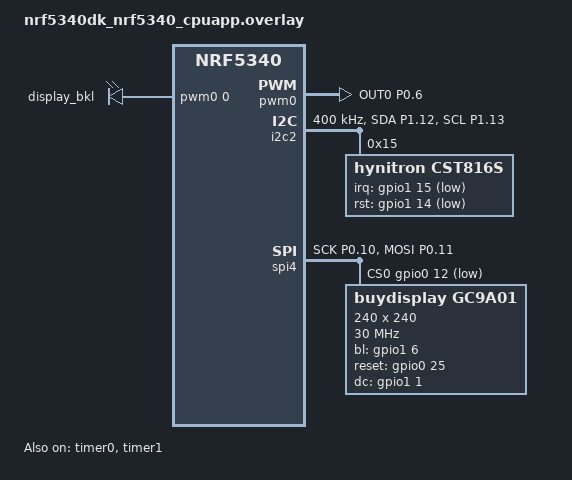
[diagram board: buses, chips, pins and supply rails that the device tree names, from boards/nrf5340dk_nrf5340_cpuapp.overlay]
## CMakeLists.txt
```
cmake_minimum_required(VERSION 3.20.0)
find_package(Zephyr REQUIRED HINTS $ENV{ZEPHYR_BASE})

project(nrf-test VERSION "0.0.0" LANGUAGES C CXX)

execute_process(
        COMMAND git rev-parse --short HEAD
        WORKING_DIRECTORY ${CMAKE_CURRENT_LIST_DIR}
        OUTPUT_VARIABLE GIT_HASH
        OUTPUT_STRIP_TRAILING_WHITESPACE
        )

target_sources(app PRIVATE
  src/ble/bt.cpp
  src/ble/auth.cpp
  src/ble/ams.cpp
  src/ble/ancs.cpp
  src/ble/bas.cpp
  src/ble/cts.cpp
  src/ble/gap.cpp
  src/ble/gatt_dm.cpp
  src/ble/nus.cpp
  src/ble/utils.cpp
  src/ble/services/gap_client.cpp
  src/ble/services/gadgetbridge.cpp
  src/ble/services/gadgetbridge/gb_parse.cpp
  src/ble/services/gadgetbridge/st_parse.cpp

  src/drivers/display/gc9a01.cpp
  src/drivers/input/cst816s.cpp

  src/ui/ui_watchface.c
  src/ui/ui_settings.c
  src/ui/ui_stopwatch.c
  src/ui/ui.c
  src/ui/ui_comp_hook.c
  src/ui/ui_helpers.c
  src/ui/ui_events.cpp
  src/ui/ui_font_MesloGLNerdFrontMono38.c
  src/ui/ui_font_MesloGLNerdFrontMono14.c
  src/ui/ui_font_MesloGLNerdFrontMono28.c
  
  src/managers/bluetooth.cpp
  src/managers/devkit.cpp
  src/managers/display.cpp
  src/managers/hfclk.cpp

  src/main.cpp
)

target_include_directories(app PRIVATE
  src/
)

set(CMAKE_CXX_FLAGS "${CMAKE_CXX_FLAGS} -fno-threadsafe-statics -DGIT_HASH=\\\"${GIT_HASH}\\\"")
set(CMAKE_C_FLAGS "${CMAKE_C_FLAGS} -DGIT_HASH=\\\"${GIT_HASH}\\\"")

# NORDIC SDK APP START
target_sources(app PRIVATE ${app_sources})
# NORDIC SDK APP END
```

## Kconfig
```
menu "Zephyr Kernel"
    source "Kconfig.zephyr"
endmenu

menu "NRF_TEST"
  menu "Bluetooth"
    config GATT_0X1801_CLIENT
      bool "GATT_0X1801_CLIENT"
      default y
  endmenu
  menu "Logging"
    module = NRF_TEST
    module-str = NRF_TEST
    source "subsys/logging/Kconfig.template.log_config"

    module = NRF_TEST_BLE
    module-str = NRF_TEST_BLE
    source "subsys/logging/Kconfig.template.log_config"
  endmenu
  
  menuconfig INPUT_MODIFIED_CST816S
    bool "Use modified out of tree CST816S capacitive touch panel driver"
    default y
    depends on DT_HAS_HYNITRON_CST816S_ENABLED
    select I2C
    help
      Enable modified out of tree driver for hynitron cst816s touch panel.

  if INPUT_MODIFIED_CST816S

  config INPUT_CST816S_PERIOD
    int "Sample period"
    depends on !INPUT_CST816S_INTERRUPT
    default 20
    help
      Sample period in milliseconds when in polling mode.

  config INPUT_CST816S_INTERRUPT
    bool "Interrupt support"
    default y
    depends on GPIO
    help
      Enable interrupt support (requires GPIO).

endif # INPUT_CST816S
endmenu
```

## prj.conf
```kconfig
CONFIG_CPP=y
CONFIG_STD_CPP20=y
CONFIG_REQUIRES_FULL_LIBCPP=y

CONFIG_MAIN_STACK_SIZE=2048
CONFIG_SYSTEM_WORKQUEUE_STACK_SIZE=6000
CONFIG_HEAP_MEM_POOL_SIZE=32000

CONFIG_ASSERT=y
CONFIG_BASE64=y

CONFIG_I2C=y
CONFIG_PWM=y
CONFIG_SPI=y
CONFIG_SPI_ASYNC=y
CONFIG_DISPLAY=y
CONFIG_INPUT=y
CONFIG_COUNTER=y
CONFIG_NRFX_TIMER1=y

CONFIG_INPUT_QUEUE_MAX_MSGS=64

CONFIG_PM_DEVICE=y
CONFIG_PM_DEVICE_RUNTIME=y

# NVS
CONFIG_FLASH=y
CONFIG_FLASH_MAP=y
CONFIG_MPU_ALLOW_FLASH_WRITE=y
CONFIG_FLASH_PAGE_LAYOUT=y
CONFIG_FLASH_MAP_LABELS=y

CONFIG_SETTINGS=y
CONFIG_NVS=y
CONFIG_SETTINGS_NVS=y

# Bluetooth
CONFIG_BT=y
CONFIG_BT_HCI=y
CONFIG_BT_HCI_ACL_FLOW_CONTROL=n
CONFIG_BT_CTLR=n

CONFIG_BT_DF=y
CONFIG_BT_DF_CONNECTIONLESS_CTE_TX=y

CONFIG_BT_DEBUG_LOG=n

CONFIG_BT_SMP=y
CONFIG_BT_SIGNING=y
CONFIG_BT_PERIPHERAL=y
CONFIG_BT_DIS=y
CONFIG_BT_DIS_PNP=n
CONFIG_BT_DIS_FW_REV=y
CONFIG_BT_DIS_FW_REV_STR="0.0.0"
CONFIG_BT_DIS_HW_REV=y
CONFIG_BT_DIS_HW_REV_STR="0.0.0"
CONFIG_BT_DIS_MANUF="NRF_Test"
CONFIG_BT_DIS_MODEL="NRF_Test"
CONFIG_BT_DEVICE_NAME="NRF_Test"
CONFIG_BT_DEVICE_APPEARANCE=192
CONFIG_BT_KEYS_OVERWRITE_OLDEST=y
CONFIG_BT_SETTINGS=y
CONFIG_BT_MAX_PAIRED=5
CONFIG_BT_MAX_CONN=1
CONFIG_BT_GATT_CLIENT=y
CONFIG_BT_GATT_CACHING=y
CONFIG_BT_GATT_NOTIFY_MULTIPLE=y
# CONFIG_BT_SMP_SC_ONLY=y
CONFIG_BT_FILTER_ACCEPT_LIST=y
CONFIG_BT_PRIVACY=y

CONFIG_BT_EXT_ADV=y
CONFIG_BT_PER_ADV=y

CONFIG_BT_BROADCASTER=y
CONFIG_BT_SMP_ALLOW_UNAUTH_OVERWRITE=y
CONFIG_BT_ECC=y
CONFIG_BT_EXT_ADV_MAX_ADV_SET=2
CONFIG_BT_CONN_TX_MAX=5

CONFIG_BT_L2CAP_TX_MTU=498
CONFIG_BT_BUF_ACL_RX_SIZE=502
CONFIG_BT_BUF_ACL_TX_SIZE=502

# ble clients
CONFIG_BT_GATTP=y
CONFIG_BT_GATT_DM=y
CONFIG_BT_BAS=y
CONFIG_BT_CTS_CLIENT=y
CONFIG_BT_NUS=y
CONFIG_BT_NUS_AUTHEN=y
CONFIG_BT_ANCS_CLIENT=y
CONFIG_BT_AMS_CLIENT=y

# Don't change this
CONFIG_BT_RECV_WORKQ_SYS=y

# Enable DK LED and Buttons library
CONFIG_DK_LIBRARY=y

CONFIG_SERIAL=n
CONFIG_CONSOLE=n
CONFIG_UART_CONSOLE=n

# LVGL configuration
CONFIG_LVGL=y
CONFIG_LV_CONF_MINIMAL=y
CONFIG_LV_Z_FLUSH_THREAD=y
CONFIG_LV_Z_FLUSH_THREAD_PRIO=0
CONFIG_LV_Z_MEM_POOL_NUMBER_BLOCKS=8
CONFIG_LV_MEM_CUSTOM=y
CONFIG_LV_MEM_SIZE_KILOBYTES=128
CONFIG_LV_MEM_BUF_MAX_NUM=16
CONFIG_LV_USE_LOG=y

CONFIG_LV_USE_ARC=y
CONFIG_LV_USE_FLEX=y
CONFIG_LV_USE_LABEL=y
CONFIG_LV_USE_SLIDER=y
CONFIG_LV_USE_SPINNER=y
CONFIG_LV_USE_BTN=y
CONFIG_LV_USE_COLORWHEEL=y

CONFIG_LV_TXT_ENC_UTF8=y

# CONFIG_LV_FONT_MONTSERRAT_12=y
# CONFIG_LV_FONT_MONTSERRAT_16=y
# CONFIG_LV_FONT_MONTSERRAT_20=y
# CONFIG_LV_FONT_MONTSERRAT_38=y
# CONFIG_LV_FONT_DEFAULT_MONTSERRAT_12=y

CONFIG_LV_Z_DOUBLE_VDB=y
CONFIG_LV_Z_VDB_SIZE=10
CONFIG_LV_DISP_DEF_REFR_PERIOD=33
CONFIG_LV_INDEV_DEF_READ_PERIOD=33

CONFIG_LV_USE_THEME_DEFAULT=y
CONFIG_LV_THEME_DEFAULT_DARK=y

CONFIG_LV_COLOR_16_SWAP=y
CONFIG_LV_COLOR_DEPTH_16=y
# end LVGL configuration

# CST816S
CONFIG_INPUT_CST816S_INTERRUPT=y
CONFIG_INPUT_CST816S=n
CONFIG_INPUT_MODIFIED_CST816S=y
# end CST816S

CONFIG_JSON_LIBRARY=y
CONFIG_BT_TINYCRYPT_ECC=y
CONFIG_POSIX_API=y

CONFIG_NRF_TEST_LOG_LEVEL_WRN=y
CONFIG_NRF_TEST_LOG_LEVEL_INF=y
CONFIG_NRF_TEST_LOG_LEVEL_DBG=y

CONFIG_NRF_TEST_BLE_LOG_LEVEL_WRN=y

CONFIG_DISPLAY_LOG_LEVEL_WRN=y
# CONFIG_DISPLAY_LOG_LEVEL_DBG=y

CONFIG_INPUT_LOG_LEVEL_WRN=y
# CONFIG_INPUT_LOG_LEVEL_DBG=y
```

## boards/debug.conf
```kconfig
CONFIG_PRINTK=y

# SEGGER RTT logging instead of UART
CONFIG_LOG_PRINTK=y
CONFIG_LOG=y
CONFIG_DEBUG_OPTIMIZATIONS=y
CONFIG_USE_SEGGER_RTT=y
CONFIG_LOG_BACKEND_RTT=y
CONFIG_LOG_BACKEND_RTT_MODE_BLOCK=y
CONFIG_LOG_BUFFER_SIZE=4096
CONFIG_LOG_BACKEND_RTT_OUTPUT_BUFFER_SIZE=128
CONFIG_LOG_BLOCK_IN_THREAD=y
# End of SEGGER RTT

# lvgl config
CONFIG_LV_USE_PERF_MONITOR=y
CONFIG_LV_PERF_MONITOR_ALIGN_BOTTOM_MID=y
# end lvgl config
```

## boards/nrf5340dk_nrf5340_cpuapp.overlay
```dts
// To get started, press Ctrl+Space to bring up the completion menu and view the available nodes.

// You can also use the buttons in the sidebar to perform actions on nodes.
// Actions currently available include:

// * Enabling / disabling the node
// * Adding the bus to a bus
// * Removing the node
// * Connecting ADC channels

// For more help, browse the DeviceTree documentation at https: //docs.zephyrproject.org/latest/guides/dts/index.html
// You can also visit the nRF DeviceTree extension documentation at https: //nrfconnect.github.io/vscode-nrf-connect/devicetree/nrfdevicetree.html

&pinctrl {
  spi4_default: spi4_default {
    group1 {
      psels = <NRF_PSEL(SPIM_SCK, 0, 10)>,
              <NRF_PSEL(SPIM_MOSI, 0, 11)>;
      nordic,drive-mode = <NRF_DRIVE_H0H1>;
    };
  };
  spi4_sleep: spi4_sleep {
    group1 {
      psels = <NRF_PSEL(SPIM_SCK, 0, 10)>,
              <NRF_PSEL(SPIM_MOSI, 0, 11)>;
      // low-power-enable;
      nordic,drive-mode = <NRF_DRIVE_H0H1>;
    };
  };

  pwm0_default: pwm0_default {
    group1 {
      psels = <NRF_PSEL(PWM_OUT0, 0, 6)>;
    };
  };
  pwm0_sleep: pwm0_sleep {
    group1 {
      psels = <NRF_PSEL(PWM_OUT0, 0, 6)>;
      // low-power-enable;
    };
  };

  i2c2_default: i2c2_default {
    group1 {
      psels = <NRF_PSEL(TWIM_SDA, 1, 12)>,
              <NRF_PSEL(TWIM_SCL, 1, 13)>;
    };
  };

  i2c2_sleep: i2c2_sleep {
    group1 {
      psels = <NRF_PSEL(TWIM_SDA, 1, 12)>,
              <NRF_PSEL(TWIM_SCL, 1, 13)>;
      // low-power-enable;
    };
  };
};

/ {
  chosen {
    zephyr,display = &gc9a01;
  };

  aliases {
    display-bkl = &display_bkl;
  };

  pwmleds {
    compatible = "pwm-leds";
    status = "okay";
    display_bkl: pwm_led_0 {
      pwms = <&pwm0 0 PWM_USEC(15) PWM_POLARITY_INVERTED>;
    };
  };

  lvgl_pointer_input: lvgl_pointer {
    compatible = "zephyr,lvgl-pointer-input";
    input = <&cst816s>;
    swap-xy;
    invert-y;
    // invert-x;
  };
};

&pwm0 {
  status = "okay";
  pinctrl-0 = <&pwm0_default>;
  pinctrl-1 = <&pwm0_sleep>;
  pinctrl-names = "default", "sleep";
};

&i2c2 {
  compatible = "nordic,nrf-twim";
  status = "okay";
  clock-frequency = <I2C_BITRATE_FAST>;
  pinctrl-0 = <&i2c2_default>;
  pinctrl-1 = <&i2c2_sleep>;
  pinctrl-names = "default", "sleep";

  cst816s: cst816s@15 {
    compatible = "hynitron,cst816s";
    reg = <0x15>;
    irq-gpios = <&gpio1 15 GPIO_ACTIVE_LOW>;
    rst-gpios = <&gpio1 14 GPIO_ACTIVE_LOW>;
  };
};

&spi4 {
  status = "okay";
  compatible = "nordic,nrf-spim";
  pinctrl-0 = <&spi4_default>;
  pinctrl-1 = <&spi4_sleep>;
  pinctrl-names = "default", "sleep";
  cs-gpios = <&gpio0 12 GPIO_ACTIVE_LOW>;

  gc9a01: gc9a01@0 {
    compatible = "buydisplay,gc9a01";
    status = "okay";
    // spi-max-frequency = <DT_FREQ_M(32)>;
    spi-max-frequency = <DT_FREQ_M(30)>;
    reg = <0>;
    width = <240>;
    height = <240>;
    bl-gpios = <&gpio1 6 GPIO_ACTIVE_HIGH>;
    reset-gpios = <&gpio0 25 GPIO_ACTIVE_HIGH>;
    dc-gpios = <&gpio1 1 GPIO_ACTIVE_HIGH>;
    rotation = <180>;
  };
};

&i2c1 {
  status = "disabled";
};

&uart0 {
  status = "disabled";
};

&gpio_fwd {
  status = "disabled";
};

&timer0 {
  status = "okay";
};

&timer1 {
  status = "okay";
};
```

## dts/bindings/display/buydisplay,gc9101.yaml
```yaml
description: GC9A01 display controller

compatible: "buydisplay,gc9a01"

include: [spi-device.yaml, display-controller.yaml]

properties:
  reset-gpios:
    type: phandle-array
    required: true
    description: RESET pin.

      The RESET pin of GC9A01 is active low.
      If connected directly the MCU pin should be configured
      as active low.

  bl-gpios:
    type: phandle-array
    required: true
    description: BL pin.

      Pin for backlight PWM control.

  dc-gpios:
    type: phandle-array
    required: true
    description: DC pin.

      The DC pin of GC9A01 is active low (transmission command byte).
      If connected directly the MCU pin should be configured
      as active low.

  rotation:
    type: int
    default: 0
    enum:
      - 0
      - 90
      - 180
      - 270
    description: Display rotation (CW) in degrees.

  pwr:
    type: uint8-array
    required: false
    description: Power Setting (PWR) values

  softstart:
    type: uint8-array
    required: false
    description: Booster Soft Start (BTST) values

  cdi:
    type: int
    required: false
    description: VCOM and data interval value

  tcon:
    type: int
    required: false
    description: TCON setting value
on-bus: spi
```

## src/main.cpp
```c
#include "managers/bluetooth.hpp"
#include "managers/devkit.hpp"
#include "managers/display.hpp"

#include <zephyr/kernel.h>
#include <zephyr/logging/log.h>

LOG_MODULE_REGISTER(nrf_test, CONFIG_NRF_TEST_LOG_LEVEL);

using managers::bt::Bluetooth;
using managers::devkit::DevKit;
using managers::display::Display;

void run_init(k_work *item)
{
  DevKit::instance().init();
  Bluetooth::instance().init();
  Display::instance().init();
}
K_WORK_DEFINE(init_work, run_init);

int main()
{
  LOG_INF("Git hash: %s", GIT_HASH);
  LOG_INF("Starting %s with CPU frequency: %d MHz", CONFIG_BOARD, SystemCoreClock / MHZ(1));
  k_work_submit(&init_work);
  return 0;
}
```

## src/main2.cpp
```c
#include "ble/bt.hpp"
#include "ble/bas.hpp"
#include "ble/auth.hpp"
#include "ble/cts.hpp"
#include "ble/gap.hpp"
#include "ble/nus.hpp"
#include "ble/utils.hpp"

#include "ble/services/gadgetbridge.hpp"
#include "managers/display.hpp"

#include "ui/ui.h"

#include <zephyr/kernel.h>
#include <zephyr/input/input.h>
#include <zephyr/logging/log.h>

#include <zephyr/drivers/gpio.h>
#include <zephyr/device.h>
#include <zephyr/drivers/pwm.h>

#include <dk_buttons_and_leds.h>
#include <zephyr/bluetooth/conn.h>
#include <zephyr/sys/reboot.h>

#include <array>
#include <ctime>
#include <random>

#include <nrfx_clock.h>

#include <lvgl.h>

static const struct pwm_dt_spec display_bkl = PWM_DT_SPEC_GET_OR(DT_ALIAS(display_bkl), {});

LOG_MODULE_REGISTER(main, CONFIG_NRF_TEST_LOG_LEVEL);

#define RUN_STATUS_LED DK_LED1
#define BT_STATUS_LED DK_LED2

void read_current_time_cb(struct bt_cts_client *cts_c,
                          struct bt_cts_current_time *current_time,
                          int err)
{
  if (err)
  {
    LOG_ERR("Cannot read Current Time: error: %d", err);
    return;
  }
  bt::utils::current_time_print(current_time);
}

void read_device_name_cb(bt::gap_client::gap_client *client, const void *data, uint16_t len, int err)
{
  if (err)
  {
    LOG_ERR("Cannot read device name: error: %d", err);
    return;
  }
  LOG_INF("%.*s", len, reinterpret_cast<const char *>(data));
}

#define GB_HTTP_REQUEST "{\"t\":\"http\",\"id\":\"quiz\",\"url\":\"https://opentdb.com/api.php?amount=1&difficulty=easy&type=boolean\"} \n"

void run_pair(k_work *item);
K_WORK_DELAYABLE_DEFINE(pair_work, run_pair);
void run_pair(k_work *item)
{
  bt::auth::set_pairable(!bt::auth::pairable());
}

std::random_device dev;
std::mt19937 rng(dev());
std::uniform_int_distribution<std::mt19937::result_type> dist(0, 255);

void run_time(k_work *item);
K_WORK_DELAYABLE_DEFINE(time_work, run_time);
void run_time(k_work *item)
{
  bt::cts::read_current_time(read_current_time_cb);
  bt::gap::read_device_name(read_device_name_cb);
  bt::nus::send(reinterpret_cast<const uint8_t *>(GB_HTTP_REQUEST), sizeof(GB_HTTP_REQUEST) - 1);

  std::array<char, 25> time_str;
  auto now = std::time(nullptr);
  if (std::strftime(time_str.data(), time_str.size(), "%c", std::localtime(&now)))
    LOG_INF("Current time: %s", time_str.data());

  // constexpr int mb = 17;
  // static int bright = mb;
  // managers::display::set_brightness(bright);
  // bright -= 1;
  // if (bright <= 0)
  // {
  //   bright += mb;
  // }
}

void run_unregister(k_work *item);
K_WORK_DELAYABLE_DEFINE(unregister_work, run_unregister);
void run_unregister(k_work *item)
{
  bt_le_adv_stop();
  bt_unpair(BT_ID_DEFAULT, BT_ADDR_LE_ANY);
  bt_disable();
  int err = bt_le_filter_accept_list_clear();
  LOG_DBG("btn3 (%d)", err);
  k_sleep(K_MSEC(4000));
  sys_reboot(SYS_REBOOT_WARM);
}

void run_reset(k_work *item);
K_WORK_DELAYABLE_DEFINE(reset_work, run_reset);
void run_reset(k_work *item)
{
  bt_disable();
  LOG_DBG("btn4");
  k_sleep(K_MSEC(4000));
  sys_reboot(SYS_REBOOT_WARM);
}

void on_input_subsys_callback(struct input_event *evt)
{
  // LOG_DBG("Event: %d, %d, %d, %d", evt->sync, evt->code, evt->type, evt->value);
  if (evt->value == 1)
  {
    switch (evt->code)
    {
    case INPUT_KEY_0: // button 1
      k_work_schedule(&pair_work, K_NO_WAIT);
      break;
    case INPUT_KEY_1: // button 2
      k_work_schedule(&time_work, K_NO_WAIT);
      break;
    case INPUT_KEY_2: // button 3
      k_work_schedule(&unregister_work, K_NO_WAIT);
      break;
    case INPUT_KEY_3: // button 4
      k_work_schedule(&reset_work, K_NO_WAIT);
      break;
    default:
      break;
    }
  }
}

void run_send(k_work *item);
K_WORK_DELAYABLE_DEFINE(send_work, run_send);
void run_send(k_work *item)
{
  if (!bt::connected() ||
      !bt::secure_connection() ||
      !bt::nus::can_send() ||
      bt::services::gadgetbridge::send_ver())
  {
    k_work_schedule(&send_work, K_MSEC(500));
  }
}
lv_obj_t *hello_world_label;
lv_obj_t *event_label;

void run_blink(k_work *item);
K_WORK_DELAYABLE_DEFINE(blink_work, run_blink);
void run_blink(k_work *item)
{
  std::array<char, 25> time_buf{0};
  auto now = std::time(nullptr);

  std::strftime(time_buf.data(), time_buf.size(), "%a %b %d", std::localtime(&now));
  lv_label_set_text(ui_daymonth, time_buf.data());

  std::strftime(time_buf.data(), time_buf.size(), "%T", std::localtime(&now));
  lv_label_set_text(ui_clocktime, time_buf.data());

  std::strftime(time_buf.data(), time_buf.size(), "%Y", std::localtime(&now));
  lv_label_set_text(ui_year, time_buf.data());

  static int blink_status = 0;
  dk_set_led(RUN_STATUS_LED, (++blink_status) % 2);
  dk_set_led(BT_STATUS_LED, bt::connected());
  k_work_schedule(&blink_work, K_MSEC(500));
}

void run_batt(k_work *item);
K_WORK_DELAYABLE_DEFINE(batt_work, run_batt);
void run_batt(k_work *item)
{
  if (bt::connected() &&
      bt::secure_connection() &&
      bt::nus::can_send())
  {
    static uint8_t batt = 100;
    static uint8_t dir = -1;
    batt += dir;
    bt::bas::set_level(batt);

    int msg_len;
    std::array<char, 100> buf{0};

    int v = 3 * batt + 30;
    msg_len = snprintf(buf.data(),
                       sizeof(buf),
                       "{\"t\":\"status\", \"bat\": %d, \"volt\": %d.%02d, \"chg\": %d} \n",
                       batt,
                       v / 100,
                       v % 100,
                       dir == 1);
    bt::nus::send(reinterpret_cast<uint8_t *>(buf.data()), msg_len);

    if (batt == 50)
    {
      dir = 1;
    }
    if (batt == 100)
    {
      dir = -1;
    }
  }
  k_work_schedule(&batt_work, K_MSEC(1000));
}

void run_lvgl(k_work *item);
K_WORK_DELAYABLE_DEFINE(lvgl_work, run_lvgl);
void run_lvgl(k_work *item)
{
  k_work_schedule(&lvgl_work, K_MSEC(lv_task_handler()));
}

void passkey_display(unsigned int passkey)
{
  LOG_INF("Passkey %06u", passkey);
}
bt::auth::auth_cb _auth_callbacks = {
    .passkey_display = passkey_display,
};

void lvgl_screen_gesture_event_callback(lv_event_t *e)
{
  auto code = lv_event_get_code(e);
  if (code <= LV_EVENT_HIT_TEST)
    LOG_DBG("event %u", code);

  switch (code)
  {
  case LV_EVENT_PRESSED:
    lv_label_set_text(event_label, "PRESSED");
    break;
  case LV_EVENT_CLICKED:
    lv_label_set_text(event_label, "CLICKED");
    break;
  case LV_EVENT_LONG_PRESSED:
    lv_label_set_text(event_label, "LONG_PRESSED");
    break;
  case LV_EVENT_LONG_PRESSED_REPEAT:
    lv_label_set_text(event_label, "LONG_PRESSED_REPEAT");
    break;
  default:
    break;
  }
}

void run_init(k_work *item)
{
  dk_leds_init();
  bt::init();
  bt::auth::set_callback(&_auth_callbacks);
  bt::auth::set_pairable(false);
  bt::services::gadgetbridge::init();
  // drivers::display::gc9a01::init();

  ///////////////////////////////////////

  if (!device_is_ready(display_bkl.dev))
  {
    LOG_WRN("Display brightness control not supported");
  }

  // k_timer_init(&my_timer, my_expiry_function, NULL);
  pwm_set_pulse_dt(&display_bkl, 0);

  ///////////////////////////////////////

  INPUT_CALLBACK_DEFINE(NULL, on_input_subsys_callback);

  LOG_INF("Starting %s with CPU frequency: %d MHz\n", CONFIG_BOARD, SystemCoreClock / MHZ(1));

  k_work_schedule(&blink_work, K_NO_WAIT);
  k_work_schedule(&batt_work, K_NO_WAIT);
  k_work_schedule(&send_work, K_NO_WAIT);

  const struct device *display_dev;
  display_dev = DEVICE_DT_GET(DT_CHOSEN(zephyr_display));
  if (!device_is_ready(display_dev))
  {
    LOG_ERR("Device not ready, aborting test");
    return;
  }

  lv_indev_t *touch_indev = lv_indev_get_next(NULL);
  while (touch_indev)
  {
    if (lv_indev_get_type(touch_indev) == LV_INDEV_TYPE_POINTER)
    {
      // TODO First fix so not all presses everywhere are registered as clicks and cause vibration
      // Clicking anywehere with this below added right now will cause a vibration, which
      // is not what we want
      // touch_indev->driver->feedback_cb = click_feedback;
      break;
    }
    touch_indev = lv_indev_get_next(touch_indev);
  }

  ui_init();

  // lv_obj_add_event_cb(lv_scr_act(), lvgl_screen_gesture_event_callback, LV_EVENT_ALL, NULL);

  // hello_world_label = lv_label_create(lv_scr_act());
  // event_label = lv_label_create(lv_scr_act());
  // lv_label_set_text(hello_world_label, "Hello world!");
  // lv_label_set_text(event_label, "");
  // lv_obj_set_style_text_font(hello_world_label, &lv_font_montserrat_16, 0);
  // lv_obj_set_style_text_font(event_label, &lv_font_montserrat_12, 0);
  // lv_obj_align(hello_world_label, LV_ALIGN_CENTER, 0, 0);
  // lv_obj_align(event_label, LV_ALIGN_CENTER, 0, -25);
  // lv_obj_clear_flag(lv_scr_act(), LV_OBJ_FLAG_SCROLLABLE);
  // lv_obj_clear_flag(hello_world_label, LV_OBJ_FLAG_SCROLLABLE);
  // lv_obj_clear_flag(event_label, LV_OBJ_FLAG_SCROLLABLE);
  lv_task_handler();
  // display_blanking_off(display_dev);
  k_work_schedule(&lvgl_work, K_NO_WAIT);
}
K_WORK_DEFINE(init_work, run_init);

int main()
{
  LOG_INF("Git hash: %s", GIT_HASH);
  k_work_submit(&init_work);

  return 0;
}

int hfclk()
{
  return nrfx_clock_divider_set(NRF_CLOCK_DOMAIN_HFCLK, NRF_CLOCK_HFCLK_DIV_1);
}
SYS_INIT(hfclk, EARLY, 0);
```
